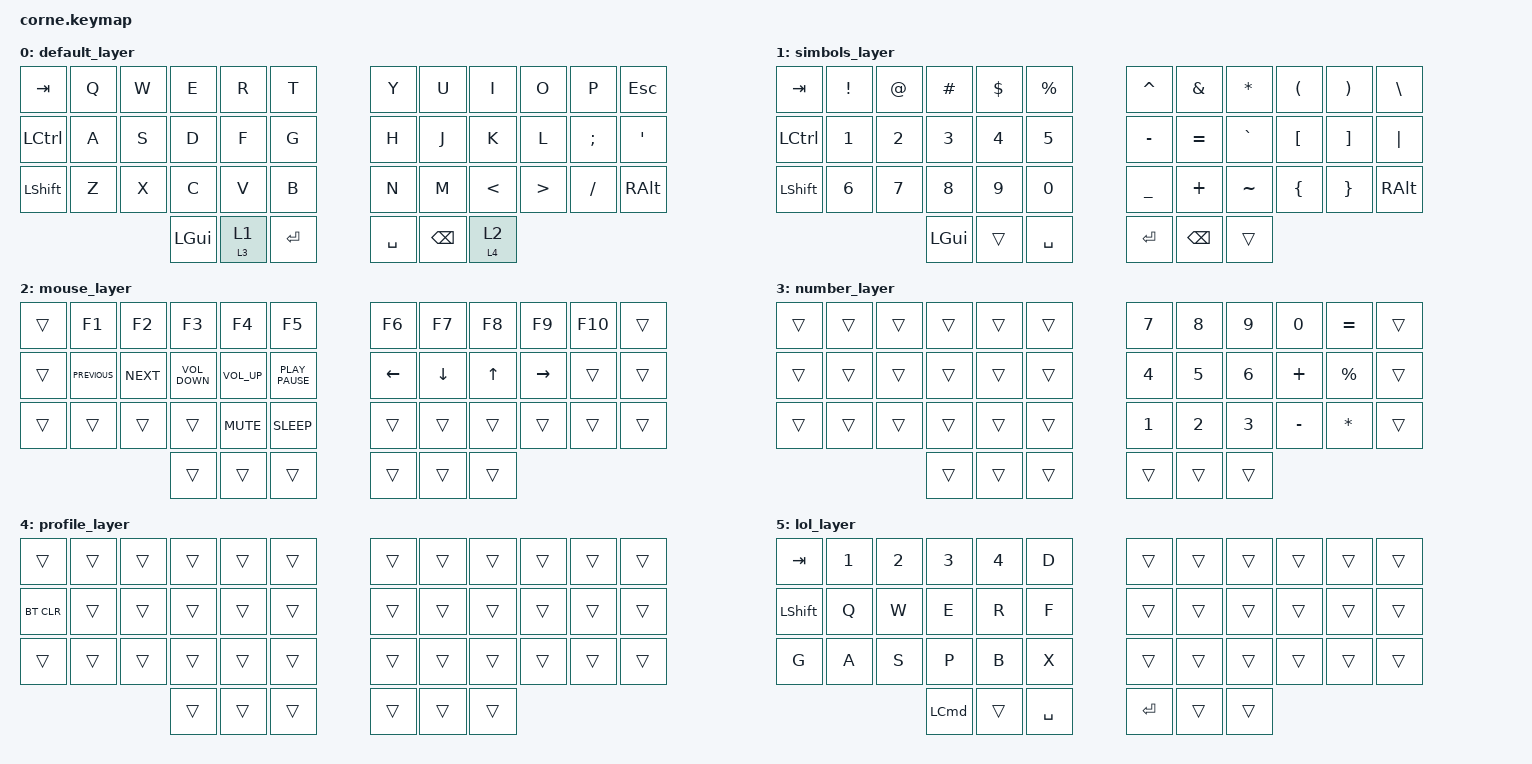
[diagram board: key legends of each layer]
/*
 * Copyright (c) 2020 The ZMK Contributors
 *
 * SPDX-License-Identifier: MIT
 */

#define ZMK_POINTING_DEFAULT_MOVE_VAL 1200
#define ZMK_POINTING_DEFAULT_SCRL_VAL 20

#include <behaviors.dtsi>
#include <dt-bindings/zmk/bt.h>
#include <dt-bindings/zmk/keys.h>

/ {
    behaviors {
        left_layer_control: left_layer_control {
            compatible = "zmk,behavior-hold-tap";
            label = "LEFT_LAYER_CONTROL";
            bindings = <&mo>, <&tog>;

            #binding-cells = <2>;
            tapping-term-ms = <200>;
        };

        rigth_layer_control: rigth_layer_control {
            compatible = "zmk,behavior-hold-tap";
            label = "RIGTH_LAYER_CONTROL";
            bindings = <&mo>, <&tog>;

            #binding-cells = <2>;
            tapping-term-ms = <200>;
            retro-tap;
        };
    };

    macros {
        sugest_params_autocomplet: sugest_params_autocomplet {
            compatible = "zmk,behavior-macro";
            #binding-cells = <0>;
            bindings = <&kp GLOBE &kp LEFT_CONTROL &kp SPACE>;
            label = "SUGEST_PARAMS_AUTOCOMPLET";
        };

        salvar: salvar {
            compatible = "zmk,behavior-macro";
            #binding-cells = <0>;
            bindings = <&kp LEFT_COMMAND &kp S>;
            label = "SALVAR";
        };

        create_component: new_macro {
            compatible = "zmk,behavior-macro";
            #binding-cells = <0>;
            bindings = <&none &kp C &kp O &kp N &kp S &kp T &kp SPACE &kp C &kp O &kp M &kp P &kp O &kp N &kp E &kp N &kp T &kp SPACE &kp EQUAL &kp SPACE &kp LPAR &kp RPAR &kp SPACE &kp EQUAL &kp GT &kp SPACE &kp LBRC &kp RET &kp SPACE &kp SPACE &kp SPACE &kp SPACE &kp R &kp E &kp T &kp U &kp R &kp N &kp SPACE &kp LPAR &kp RET &kp SPACE &kp SPACE &kp SPACE &kp SPACE &kp SPACE &kp SPACE &kp SPACE &kp SPACE &kp LT &kp D &kp I &kp V &kp GT &kp RET &kp SPACE &kp SPACE &kp SPACE &kp SPACE &kp SPACE &kp SPACE &kp SPACE &kp SPACE &kp SPACE &kp SPACE &kp SPACE &kp SPACE &kp C &kp O &kp M &kp P &kp O &kp N &kp E &kp N &kp T &kp RET &kp SPACE &kp SPACE &kp SPACE &kp SPACE &kp SPACE &kp SPACE &kp SPACE &kp SPACE &kp LT &kp FSLH &kp D &kp I &kp V &kp GT &kp RET &kp SPACE &kp SPACE &kp SPACE &kp SPACE &kp RPAR &kp RET &kp RBRC &kp RET &kp RET &kp E &kp X &kp P &kp O &kp R &kp T &kp SPACE &kp D &kp E &kp F &kp A &kp U &kp L &kp T &kp SPACE &kp C &kp O &kp M &kp P &kp O &kp N &kp E &kp N &kp T &kp LPAR &kp RPAR>;
            label = "NEW_MACRO";
        };
    };

    combos {
        compatible = "zmk,combos";

        control {
            bindings = <&kp LEFT_CONTROL>;
            key-positions = <36 24>;
            layers = <0>;
        };

        arroba {
            bindings = <&kp AT_SIGN>;
            key-positions = <36 22>;
            layers = <0>;
        };

        grave {
            bindings = <&kp GRAVE>;
            key-positions = <36 23>;
            layers = <0>;
        };

        autosugestion {
            bindings = <&sugest_params_autocomplet>;
            key-positions = <24 38>;
            layers = <0>;
        };
    };

    keymap {
        compatible = "zmk,keymap";

        default_layer {
            // -----------------------------------------------------------------------------------------
            // |  TAB |  Q  |  W  |  E  |  R  |  T  |   |  Y  |  U   |  I  |  O  |  P  | BSPC |
            // | CTRL |  A  |  S  |  D  |  F  |  G  |   |  H  |  J   |  K  |  L  |  ;  |  '   |
            // | SHFT |  Z  |  X  |  C  |  V  |  B  |   |  N  |  M   |  ,  |  .  |  /  | ESC  |
            //                    | GUI | LWR | SPC |   | ENT | RSE  | ALT |

            bindings = <
&kp TAB    &kp Q  &kp W  &kp E     &kp R                    &kp T        &kp Y      &kp U          &kp I                     &kp O             &kp P          &kp ESC
&kp LCTRL  &kp A  &kp S  &kp D     &kp F                    &kp G        &kp H      &kp J          &kp K                     &kp L             &kp SEMICOLON  &kp SQT
&kp LSHFT  &kp Z  &kp X  &kp C     &kp V                    &kp B        &kp N      &kp M          &kp LESS_THAN             &kp GREATER_THAN  &kp FSLH       &kp RIGHT_ALT
                         &kp LGUI  &left_layer_control 3 1  &kp ENTER    &kp SPACE  &kp BACKSPACE  &rigth_layer_control 4 2
            >;
        };

        simbols_layer {
            // -----------------------------------------------------------------------------------------
            // |  TAB |  1  |  2  |  3  |  4  |  5  |   |  6  |  7  |  8  |  9  |  0  | BSPC |
            // | BTCLR| BT1 | BT2 | BT3 | BT4 | BT5 |   | LFT | DWN |  UP | RGT |     |      |
            // | SHFT |     |     |     |     |     |   |     |     |     |     |     |      |
            //                    | GUI |     | SPC |   | ENT |     | ALT |

            bindings = <
&kp TAB         &kp EXCLAMATION  &kp AT        &kp HASH      &kp DOLLAR    &kp PERCENT     &kp CARET       &kp AMPERSAND  &kp ASTERISK  &kp LEFT_PARENTHESIS  &kp RIGHT_PARENTHESIS  &kp BACKSLASH
&kp LCTRL       &kp NUMBER_1     &kp NUMBER_2  &kp N3        &kp NUMBER_4  &kp NUMBER_5    &kp MINUS       &kp EQUAL      &kp GRAVE     &kp LEFT_BRACKET      &kp RBKT               &kp PIPE
&kp LEFT_SHIFT  &kp NUMBER_6     &kp NUMBER_7  &kp NUMBER_8  &kp NUMBER_9  &kp NUMBER_0    &kp UNDERSCORE  &kp PLUS       &kp TILDE     &kp LEFT_BRACE        &kp RIGHT_BRACE        &kp RIGHT_ALT
                                               &kp LGUI      &trans        &kp SPACE       &kp RET         &kp BACKSPACE  &trans
            >;
        };

        mouse_layer {
            // -----------------------------------------------------------------------------------------
            // |  TAB |  !  |  @  |  #  |  $  |  %  |   |  ^  |  &  |  *  |  (  |  )  | BSPC |
            // | CTRL |     |     |     |     |     |   |  -  |  =  |  [  |  ]  |  \  |  `   |
            // | SHFT |     |     |     |     |     |   |  _  |  +  |  {  |  }  | "|" |  ~   |
            //                    | GUI |     | SPC |   | ENT |     | ALT |

            bindings = <
&trans  &kp F1          &kp F2      &kp F3             &kp F4        &kp F5              &kp F6          &kp F7    &kp F8        &kp F9     &kp F10  &trans
&trans  &kp C_PREVIOUS  &kp C_NEXT  &kp C_VOLUME_DOWN  &kp C_VOL_UP  &kp K_PLAY_PAUSE    &kp LEFT_ARROW  &kp DOWN  &kp UP_ARROW  &kp RIGHT  &trans   &trans
&trans  &trans          &trans      &trans             &kp K_MUTE    &kp C_SLEEP         &trans          &trans    &trans        &trans     &trans   &trans
                                    &trans             &trans        &trans              &trans          &trans    &trans
            >;
        };

        number_layer {
            bindings = <
&trans  &trans  &trans  &trans  &trans  &trans    &kp NUMBER_7  &kp NUMBER_8  &kp NUMBER_9  &kp NUMBER_0  &kp EQUAL     &trans
&trans  &trans  &trans  &trans  &trans  &trans    &kp NUMBER_4  &kp NUMBER_5  &kp NUMBER_6  &kp PLUS      &kp PERCENT   &trans
&trans  &trans  &trans  &trans  &trans  &trans    &kp NUMBER_1  &kp NUMBER_2  &kp NUMBER_3  &kp MINUS     &kp ASTERISK  &trans
                        &trans  &trans  &trans    &trans        &trans        &trans
            >;
        };

        profile_layer {
            bindings = <
&trans      &trans  &trans  &trans  &trans  &trans    &trans  &trans  &trans  &trans  &trans  &trans
&bt BT_CLR  &trans  &trans  &trans  &trans  &trans    &trans  &trans  &trans  &trans  &trans  &trans
&trans      &trans  &trans  &trans  &trans  &trans    &trans  &trans  &trans  &trans  &trans  &trans
                            &trans  &trans  &trans    &trans  &trans  &trans
            >;
        };

        lol_layer {
            bindings = <
&kp TAB         &kp NUMBER_1  &kp NUMBER_2  &kp NUMBER_3      &kp NUMBER_4  &kp D        &trans     &trans  &trans  &trans  &trans  &trans
&kp LEFT_SHIFT  &kp Q         &kp W         &kp E             &kp R         &kp F        &trans     &trans  &trans  &trans  &trans  &trans
&kp G           &kp A         &kp S         &kp P             &kp B         &kp X        &trans     &trans  &trans  &trans  &trans  &trans
                                            &kp LEFT_COMMAND  &trans        &kp SPACE    &kp ENTER  &trans  &trans
            >;
        };
    };

    conditional_layers {
        compatible = "zmk,conditional-layers";

        enable_lol_layer {
            if-layers = <1 2>;
            then-layer = <5>;
        };
    };
};
